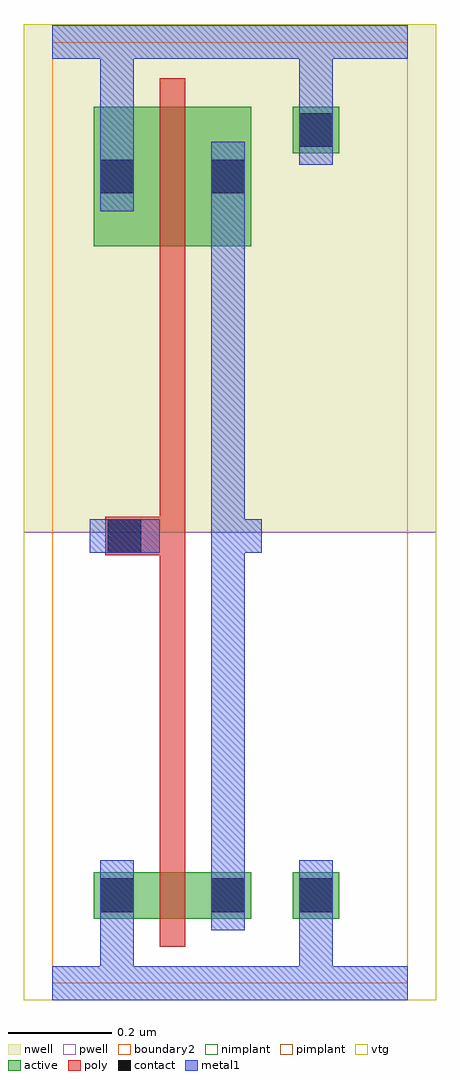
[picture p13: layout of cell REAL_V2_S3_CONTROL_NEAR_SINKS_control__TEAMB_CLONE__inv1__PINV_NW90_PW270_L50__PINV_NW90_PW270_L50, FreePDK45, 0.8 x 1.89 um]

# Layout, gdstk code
import gdstk
lib = gdstk.Library(unit=1e-6, precision=5e-10)
def R(c, l, rs):  # rectangles x0, y0, x1, y1
    for r in rs: c.add(gdstk.rectangle(r[:2], r[2:], *l))
active = (1, 0)
pwell = (2, 0)
nwell = (3, 0)
nimplant = (4, 0)
pimplant = (5, 0)
vtg = (6, 0)
poly = (9, 0)
contact = (10, 0)
metal1 = (11, 0)
boundary2 = (239, 0)

real_v2_s3_control_near_ = lib.new_cell('REAL_V2_S3_CONTROL_NEAR_SINKS_control__TEAMB_CLONE__inv1__PINV_NW90_PW270_L50__TRANSMISSION_GATE_NW250_PW500_L50_contact_8')
R(real_v2_s3_control_near_, active, [(0,0.0225,0.09,0.1125), (0,0.0225,0.09,0.1125), (0,0.0225,0.09,0.1125)])
R(real_v2_s3_control_near_, nwell, [(-0.055,-0.0325,0.145,0.1675), (-0.055,-0.0325,0.145,0.1675), (-0.055,-0.0325,0.145,0.1675)])
R(real_v2_s3_control_near_, pimplant, [(0,0.0225,0.09,0.1125), (0,0.0225,0.09,0.1125), (0,0.0225,0.09,0.1125)])
R(real_v2_s3_control_near_, contact, [(0.0125,0.035,0.0775,0.1), (0.0125,0.035,0.0775,0.1), (0.0125,0.035,0.0775,0.1)])
R(real_v2_s3_control_near_, metal1, [(0.0125,0,0.0775,0.135), (0.0125,0,0.0775,0.135), (0.0125,0,0.0775,0.135)])
R(real_v2_s3_control_near_, boundary2, [(-0.055,-0.0325,0.145,0.1675), (-0.055,-0.0325,0.145,0.1675), (-0.055,-0.0325,0.145,0.1675)])

c_real_v2_s3_control_near_ = lib.new_cell('REAL_V2_S3_CONTROL_NEAR_SINKS_control__TEAMB_CLONE__inv1__PINV_NW90_PW270_L50__PINV_NW180_PW270_L50_pmos_m1_w0_270_sm1_dm1_da_p')
R(c_real_v2_s3_control_near_, active, [(0,0,0.305,0.27), (0,0,0.305,0.27), (0,0,0.305,0.27)])
R(c_real_v2_s3_control_near_, nwell, [(-0.08,-0.08,0.385,0.35), (-0.08,-0.08,0.385,0.35), (-0.08,-0.08,0.385,0.35)])
R(c_real_v2_s3_control_near_, pimplant, [(0,0,0.305,0.27), (0,0,0.305,0.27), (0,0,0.305,0.27)])
R(c_real_v2_s3_control_near_, vtg, [(-0.08,-0.08,0.385,0.35), (-0.08,-0.08,0.385,0.35), (-0.08,-0.08,0.385,0.35)])
R(c_real_v2_s3_control_near_, poly, [(0.1275,-0.055,0.1775,0.325), (0.1275,-0.055,0.1775,0.325), (0.1275,-0.055,0.1775,0.325), (0.1275,-0.055,0.1775,0.325), (0.1275,-0.055,0.1775,0.325), (0.1275,-0.055,0.1775,0.325)])
R(c_real_v2_s3_control_near_, metal1, [(0.0125,0.0675,0.0775,0.2025), (0.0125,0.0675,0.0775,0.2025), (0.0125,0.0675,0.0775,0.2025), (0.2275,0.0675,0.2925,0.2025), (0.2275,0.0675,0.2925,0.2025), (0.2275,0.0675,0.2925,0.2025)])
R(c_real_v2_s3_control_near_, boundary2, [(-0.08,-0.08,0.385,0.35), (-0.08,-0.08,0.385,0.35), (-0.08,-0.08,0.385,0.35)])
c_real_v2_s3_control_near_.add(gdstk.Reference(real_v2_s3_control_near_, (0,0.0675)))
c_real_v2_s3_control_near_.add(gdstk.Reference(real_v2_s3_control_near_, (0.215,0.0675)))

c_real_v2_s3_control_near__ = lib.new_cell('REAL_V2_S3_CONTROL_NEAR_SINKS_control__TEAMB_CLONE__inv1__PINV_NW90_PW270_L50__TRANSMISSION_GATE_NW250_PW500_L50_contact_7')
R(c_real_v2_s3_control_near__, active, [(0,0.0225,0.09,0.1125), (0,0.0225,0.09,0.1125), (0,0.0225,0.09,0.1125)])
R(c_real_v2_s3_control_near__, pwell, [(-0.055,-0.0325,0.145,0.1675), (-0.055,-0.0325,0.145,0.1675), (-0.055,-0.0325,0.145,0.1675)])
R(c_real_v2_s3_control_near__, nimplant, [(0,0.0225,0.09,0.1125), (0,0.0225,0.09,0.1125), (0,0.0225,0.09,0.1125)])
R(c_real_v2_s3_control_near__, contact, [(0.0125,0.035,0.0775,0.1), (0.0125,0.035,0.0775,0.1), (0.0125,0.035,0.0775,0.1)])
R(c_real_v2_s3_control_near__, metal1, [(0.0125,0,0.0775,0.135), (0.0125,0,0.0775,0.135), (0.0125,0,0.0775,0.135)])
R(c_real_v2_s3_control_near__, boundary2, [(-0.055,-0.0325,0.145,0.1675), (-0.055,-0.0325,0.145,0.1675), (-0.055,-0.0325,0.145,0.1675)])

c_real_v2_s3_control_near___ = lib.new_cell('REAL_V2_S3_CONTROL_NEAR_SINKS_control__TEAMB_CLONE__inv1__PINV_NW90_PW270_L50__PINV_NW90_PW270_L50_nmos_m1_w0_090_sm1_dm1_da_p')
R(c_real_v2_s3_control_near___, active, [(0,0,0.305,0.09), (0,0,0.305,0.09), (0,0,0.305,0.09)])
R(c_real_v2_s3_control_near___, pwell, [(-0.08,-0.08,0.385,0.17), (-0.08,-0.08,0.385,0.17), (-0.08,-0.08,0.385,0.17)])
R(c_real_v2_s3_control_near___, nimplant, [(0,0,0.305,0.09), (0,0,0.305,0.09), (0,0,0.305,0.09)])
R(c_real_v2_s3_control_near___, vtg, [(-0.08,-0.08,0.385,0.17), (-0.08,-0.08,0.385,0.17), (-0.08,-0.08,0.385,0.17)])
R(c_real_v2_s3_control_near___, poly, [(0.1275,-0.055,0.1775,0.145), (0.1275,-0.055,0.1775,0.145), (0.1275,-0.055,0.1775,0.145), (0.1275,-0.055,0.1775,0.145), (0.1275,-0.055,0.1775,0.145), (0.1275,-0.055,0.1775,0.145)])
R(c_real_v2_s3_control_near___, metal1, [(0.0125,-0.0225,0.0775,0.1125), (0.0125,-0.0225,0.0775,0.1125), (0.0125,-0.0225,0.0775,0.1125), (0.2275,-0.0225,0.2925,0.1125), (0.2275,-0.0225,0.2925,0.1125), (0.2275,-0.0225,0.2925,0.1125)])
R(c_real_v2_s3_control_near___, boundary2, [(-0.08,-0.08,0.385,0.17), (-0.08,-0.08,0.385,0.17), (-0.08,-0.08,0.385,0.17)])
c_real_v2_s3_control_near___.add(gdstk.Reference(c_real_v2_s3_control_near__, (0,-0.0225)))
c_real_v2_s3_control_near___.add(gdstk.Reference(c_real_v2_s3_control_near__, (0.215,-0.0225)))

c_real_v2_s3_control_near____ = lib.new_cell('REAL_V2_S3_CONTROL_NEAR_SINKS_control__TEAMB_CLONE__inv1__PINV_NW90_PW270_L50__TRANSMISSION_GATE_NW250_PW500_L50_contact_9')
R(c_real_v2_s3_control_near____, active, [(0,0.0225,0.09,0.1125), (0,0.0225,0.09,0.1125), (0,0.0225,0.09,0.1125)])
R(c_real_v2_s3_control_near____, nwell, [(-0.055,-0.0325,0.145,0.1675), (-0.055,-0.0325,0.145,0.1675), (-0.055,-0.0325,0.145,0.1675)])
R(c_real_v2_s3_control_near____, nimplant, [(0,0.0225,0.09,0.1125), (0,0.0225,0.09,0.1125), (0,0.0225,0.09,0.1125)])
R(c_real_v2_s3_control_near____, contact, [(0.0125,0.035,0.0775,0.1), (0.0125,0.035,0.0775,0.1), (0.0125,0.035,0.0775,0.1)])
R(c_real_v2_s3_control_near____, metal1, [(0.0125,0,0.0775,0.135), (0.0125,0,0.0775,0.135), (0.0125,0,0.0775,0.135)])
R(c_real_v2_s3_control_near____, boundary2, [(-0.055,-0.0325,0.145,0.1675), (-0.055,-0.0325,0.145,0.1675), (-0.055,-0.0325,0.145,0.1675)])

c_real_v2_s3_control_near_____ = lib.new_cell('REAL_V2_S3_CONTROL_NEAR_SINKS_control__TEAMB_CLONE__inv1__PINV_NW90_PW270_L50__TRANSMISSION_GATE_NW250_PW500_L50_contact_10')
R(c_real_v2_s3_control_near_____, active, [(0,0.0225,0.09,0.1125), (0,0.0225,0.09,0.1125), (0,0.0225,0.09,0.1125)])
R(c_real_v2_s3_control_near_____, pwell, [(-0.055,-0.0325,0.145,0.1675), (-0.055,-0.0325,0.145,0.1675), (-0.055,-0.0325,0.145,0.1675)])
R(c_real_v2_s3_control_near_____, pimplant, [(0,0.0225,0.09,0.1125), (0,0.0225,0.09,0.1125), (0,0.0225,0.09,0.1125)])
R(c_real_v2_s3_control_near_____, contact, [(0.0125,0.035,0.0775,0.1), (0.0125,0.035,0.0775,0.1), (0.0125,0.035,0.0775,0.1)])
R(c_real_v2_s3_control_near_____, metal1, [(0.0125,0,0.0775,0.135), (0.0125,0,0.0775,0.135), (0.0125,0,0.0775,0.135)])
R(c_real_v2_s3_control_near_____, boundary2, [(-0.055,-0.0325,0.145,0.1675), (-0.055,-0.0325,0.145,0.1675), (-0.055,-0.0325,0.145,0.1675)])

c_real_v2_s3_control_near______ = lib.new_cell('REAL_V2_S3_CONTROL_NEAR_SINKS_control__TEAMB_CLONE__inv1__PINV_NW90_PW270_L50__PINV_NW180_PW270_L50_contact_11')
R(c_real_v2_s3_control_near______, poly, [(0.03,0,0.105,0.075), (0.03,0,0.105,0.075), (0.03,0,0.105,0.075)])
R(c_real_v2_s3_control_near______, contact, [(0.035,0.005,0.1,0.07), (0.035,0.005,0.1,0.07), (0.035,0.005,0.1,0.07)])
R(c_real_v2_s3_control_near______, metal1, [(0,0.005,0.135,0.07), (0,0.005,0.135,0.07), (0,0.005,0.135,0.07)])
R(c_real_v2_s3_control_near______, boundary2, [(0,0,0.135,0.075), (0,0,0.135,0.075), (0,0,0.135,0.075)])

c_real_v2_s3_control_near_______ = lib.new_cell('REAL_V2_S3_CONTROL_NEAR_SINKS_control__TEAMB_CLONE__inv1__PINV_NW90_PW270_L50__PINV_NW90_PW270_L50_core')
R(c_real_v2_s3_control_near_______, pwell, [(-0.055,-0.0325,0.7425,0.8725), (-0.055,-0.0325,0.7425,0.8725), (-0.055,-0.0325,0.7425,0.8725)])
R(c_real_v2_s3_control_near_______, nwell, [(-0.055,0.8725,0.7425,1.855), (-0.055,0.8725,0.7425,1.855), (-0.055,0.8725,0.7425,1.855)])
R(c_real_v2_s3_control_near_______, vtg, [(-0.055,-0.0325,0.7425,0.8725), (-0.055,-0.0325,0.7425,0.8725), (-0.055,-0.0325,0.7425,0.8725), (-0.055,0.8725,0.7425,1.855), (-0.055,0.8725,0.7425,1.855), (-0.055,0.8725,0.7425,1.855)])
R(c_real_v2_s3_control_near_______, poly, [(0.2075,0.27,0.2575,1.37), (0.2075,0.27,0.2575,1.37), (0.2075,0.27,0.2575,1.37), (0.14,0.8275,0.2075,0.9025), (0.14,0.8275,0.2075,0.9025), (0.14,0.8275,0.2075,0.9025)])
R(c_real_v2_s3_control_near_______, metal1, [(0,-0.0325,0.6875,0.0325), (0,-0.0325,0.6875,0.0325), (0,-0.0325,0.6875,0.0325), (0.0925,-0.0325,0.1575,0.1025), (0.0925,-0.0325,0.1575,0.1025), (0.0925,-0.0325,0.1575,0.1025), (0.4775,0,0.5425,0.17), (0.4775,0,0.5425,0.17), (0.4775,0,0.5425,0.17), (0.3075,0.1025,0.3725,1.6275), (0.3075,0.1025,0.3725,1.6275), (0.3075,0.1025,0.3725,1.6275), (0.0725,0.8325,0.2075,0.8975), (0.0725,0.8325,0.2075,0.8975), (0.0725,0.8325,0.2075,0.8975), (0.34,0.8325,0.405,0.8975), (0.34,0.8325,0.405,0.8975), (0.34,0.8325,0.405,0.8975), (0.0925,1.4925,0.1575,1.8525), (0.0925,1.4925,0.1575,1.8525), (0.0925,1.4925,0.1575,1.8525), (0.4775,1.65,0.5425,1.82), (0.4775,1.65,0.5425,1.82), (0.4775,1.65,0.5425,1.82), (0,1.7875,0.6875,1.8525), (0,1.7875,0.6875,1.8525), (0,1.7875,0.6875,1.8525)])
R(c_real_v2_s3_control_near_______, boundary2, [(0,0,0.6875,1.82), (0,0,0.6875,1.82), (0,0,0.6875,1.82), (0,0,0.6875,1.82), (0,0,0.6875,1.82), (0,0,0.6875,1.82)])
c_real_v2_s3_control_near_______.add(gdstk.Reference(c_real_v2_s3_control_near_, (0.08,1.425)))
c_real_v2_s3_control_near_______.add(gdstk.Reference(c_real_v2_s3_control_near___, (0.08,0.125)))
c_real_v2_s3_control_near_______.add(gdstk.Reference(c_real_v2_s3_control_near____, (0.465,1.5825)))
c_real_v2_s3_control_near_______.add(gdstk.Reference(c_real_v2_s3_control_near_____, (0.465,0.1025)))
c_real_v2_s3_control_near_______.add(gdstk.Reference(c_real_v2_s3_control_near______, (0.0725,0.8275)))

c_real_v2_s3_control_near________ = lib.new_cell('REAL_V2_S3_CONTROL_NEAR_SINKS_control__TEAMB_CLONE__inv1__PINV_NW90_PW270_L50__PINV_NW90_PW270_L50')
R(c_real_v2_s3_control_near________, metal1, [(0,-0.0325,0.6875,0.0325), (0,-0.0325,0.6875,0.0325), (0,-0.0325,0.6875,0.0325), (0.0725,0.8325,0.2075,0.8975), (0.0725,0.8325,0.2075,0.8975), (0.0725,0.8325,0.2075,0.8975), (0.34,0.8325,0.405,0.8975), (0.34,0.8325,0.405,0.8975), (0.34,0.8325,0.405,0.8975), (0,1.7875,0.6875,1.8525), (0,1.7875,0.6875,1.8525), (0,1.7875,0.6875,1.8525)])
R(c_real_v2_s3_control_near________, boundary2, [(0,0,0.6875,1.82), (0,0,0.6875,1.82), (0,0,0.6875,1.82)])
c_real_v2_s3_control_near________.add(gdstk.Reference(c_real_v2_s3_control_near_______, (0,0)))

lib.write_gds('REAL_V2_S3_CONTROL_NEAR_SINKS_control__TEAMB_CLONE__inv1__PINV_NW90_PW270_L50__PINV_NW90_PW270_L50.gds')
